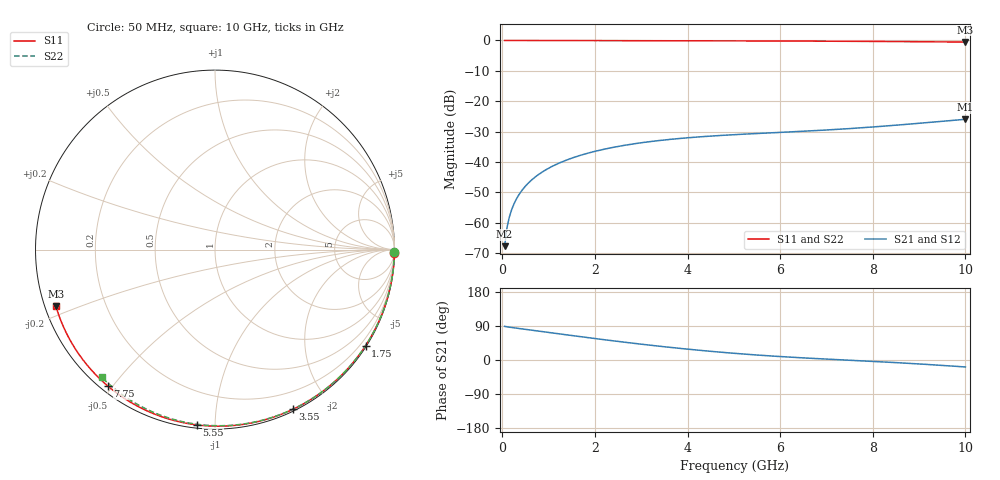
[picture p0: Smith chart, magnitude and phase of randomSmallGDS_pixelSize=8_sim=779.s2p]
! freq	dB(S11)	phase(S11)	dB(S12)	phase(S12)
!  dB(S21)	phase(S21)	dB(S22)	phase(S22)
!S-par simulation data
#  GHz  S  DB  R 50
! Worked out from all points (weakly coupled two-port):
!   200 points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, 50 MHz to 10 GHz, reference 50 ohm
!   highest |S21| = -25.94 dB at 10 GHz (marker M1); lowest = -67.7 dB at 50 MHz (marker M2)
!   lowest |S11| = -0.5 dB at 10 GHz (marker M3), VSWR 32.88, Z = 1.57 - j8.66 ohm
!   |S11| at or under -10 dB: nowhere
!   |S22| runs from -0.4 to 0.0 dB; largest |S21 - S12| = 0
!   S11 on the Smith chart (normalised r, x): 50 MHz: open; 1.75 GHz: 0.03, -3.43; 3.55 GHz: 0.02, -1.60; 5.55 GHz: 0.02, -0.90; 7.75 GHz: 0.02, -0.49; 10 GHz: 0.03, -0.17
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0.05  -0.00 -0.9  -67.69 88.8  -67.69 88.8  -0.00 -0.8
0.1  -0.00 -1.9  -61.71 87.7  -61.71 87.7  -0.00 -1.5
0.15  -0.00 -2.8  -58.23 86.7  -58.23 86.7  -0.00 -2.3
0.2  -0.00 -3.8  -55.76 85.8  -55.76 85.8  -0.00 -3.1
0.25  -0.00 -4.7  -53.86 84.9  -53.86 84.9  -0.00 -3.9
0.35  -0.00 -6.6  -50.98 83.3  -50.98 83.3  -0.00 -5.4
0.5  -0.01 -9.4  -47.93 80.9  -47.93 80.9  -0.01 -7.7
0.7  -0.01 -13.2  -45.06 77.7  -45.06 77.7  -0.01 -10.8
1  -0.02 -18.8  -42.05 72.7  -42.05 72.7  -0.02 -15.3
1.35  -0.03 -25.2  -39.58 67.0  -39.58 67.0  -0.03 -20.6
1.75  -0.04 -32.5  -37.51 60.6  -37.51 60.6  -0.03 -26.6
2.5  -0.06 -45.9  -34.87 49.0  -34.87 49.0  -0.05 -37.7
3.4  -0.08 -61.5  -32.91 36.3  -32.91 36.3  -0.07 -50.6
3.55  -0.09 -64.0  -32.66 34.3  -32.66 34.3  -0.07 -52.7
4.3  -0.11 -76.3  -31.68 25.1  -31.68 25.1  -0.09 -63.0
5.05  -0.14 -88.2  -30.97 17.2  -30.97 17.2  -0.11 -73.0
5.55  -0.16 -95.9  -30.58 12.7  -30.58 12.7  -0.13 -79.5
6.7  -0.22 -113.1  -29.72 4.2  -29.72 4.2  -0.18 -93.8
7.75  -0.29 -128.2  -28.74 -2.1  -28.74 -2.1  -0.24 -106.3
8.35  -0.35 -136.7  -28.07 -5.9  -28.07 -5.9  -0.29 -113.2
9.2  -0.43 -148.8  -27.00 -11.9  -27.00 -11.9  -0.36 -122.7
10  -0.53 -160.3  -25.94 -18.4  -25.94 -18.4  -0.44 -131.6
